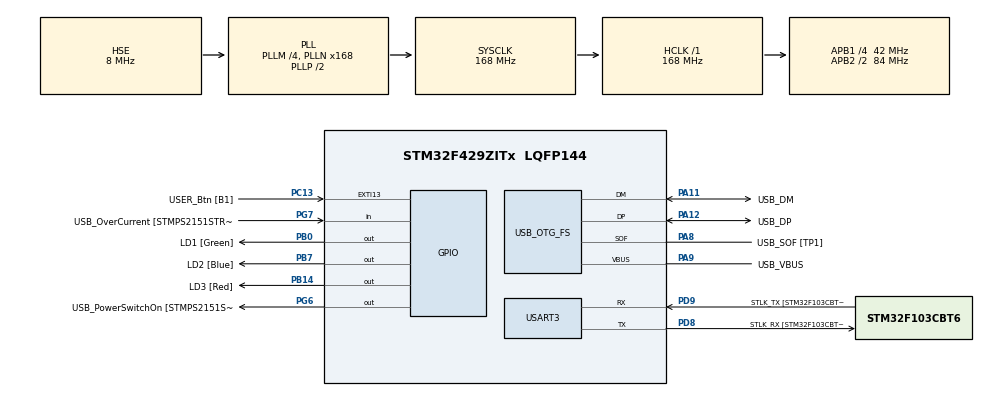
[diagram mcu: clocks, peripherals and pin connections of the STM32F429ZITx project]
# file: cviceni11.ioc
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Mcu.Family=STM32F4
Mcu.Name=STM32F429ZITx
Mcu.Package=LQFP144
NVIC.OTG_FS_IRQn=true\:0\:0\:false\:false\:true\:false\:true\:true
NVIC.PriorityGroup=NVIC_PRIORITYGROUP_4
PA1.GPIO_Label=RMII_REF_CLK [LAN8742A-CZ-TR_REFCLK0]
PA1.Signal=ETH_REF_CLK
PA10.GPIO_Label=USB_ID
PA10.Signal=USB_OTG_FS_ID
PA11.GPIO_Label=USB_DM
PA11.Mode=Device_Only
PA11.Signal=USB_OTG_FS_DM
PA12.GPIO_Label=USB_DP
PA12.Mode=Device_Only
PA12.Signal=USB_OTG_FS_DP
PA13.GPIO_Label=TMS
PA13.Mode=Serial_Wire
PA13.Signal=SYS_JTMS-SWDIO
PA14.GPIO_Label=TCK
PA14.Mode=Serial_Wire
PA14.Signal=SYS_JTCK-SWCLK
PA2.GPIO_Label=RMII_MDIO [LAN8742A-CZ-TR_MDIO]
PA2.Signal=ETH_MDIO
PA7.GPIO_Label=RMII_CRS_DV [LAN8742A-CZ-TR_CRS_DV]
PA7.Signal=ETH_CRS_DV
PA8.GPIO_Label=USB_SOF [TP1]
PA8.Mode=Activate_SOF_FS
PA8.Signal=USB_OTG_FS_SOF
PA9.GPIO_Label=USB_VBUS
PA9.Mode=Activate_VBUS
PA9.Signal=USB_OTG_FS_VBUS
PB0.GPIO_Label=LD1 [Green]
PB0.Signal=GPIO_Output
PB13.GPIO_Label=RMII_TXD1 [LAN8742A-CZ-TR_TXD1]
PB13.Signal=ETH_TXD1
PB14.GPIO_Label=LD3 [Red]
PB14.Signal=GPIO_Output
PB7.GPIO_Label=LD2 [Blue]
PB7.Signal=GPIO_Output
PC1.GPIO_Label=RMII_MDC [LAN8742A-CZ-TR_MDC]
PC1.Signal=ETH_MDC
PC13.GPIO_Label=USER_Btn [B1]
PC13.Signal=GPXTI13
PC14/OSC32_IN.Mode=LSE-External-Oscillator
PC14/OSC32_IN.Signal=RCC_OSC32_IN
PC15/OSC32_OUT.Mode=LSE-External-Oscillator
PC15/OSC32_OUT.Signal=RCC_OSC32_OUT
PC4.GPIO_Label=RMII_RXD0 [LAN8742A-CZ-TR_RXD0]
PC4.Signal=ETH_RXD0
PC5.GPIO_Label=RMII_RXD1 [LAN8742A-CZ-TR_RXD1]
PC5.Signal=ETH_RXD1
PD8.GPIO_Label=STLK_RX [STM32F103CBT6_PA3]
PD8.Mode=Asynchronous
PD8.Signal=USART3_TX
PD9.GPIO_Label=STLK_TX [STM32F103CBT6_PA2]
PD9.Mode=Asynchronous
PD9.Signal=USART3_RX
PG11.GPIO_Label=RMII_TX_EN [LAN8742A-CZ-TR_TXEN]
PG11.Signal=ETH_TX_EN
PG13.GPIO_Label=RMII_TXD0 [LAN8742A-CZ-TR_TXD0]
PG13.Signal=ETH_TXD0
PG6.GPIO_Label=USB_PowerSwitchOn [STMPS2151STR_EN]
PG6.Signal=GPIO_Output
PG7.GPIO_Label=USB_OverCurrent [STMPS2151STR_FAULT]
PG7.Signal=GPIO_Input
PH0/OSC_IN.GPIO_Label=MCO [STM32F103CBT6_PA8]
PH0/OSC_IN.Mode=HSE-External-Clock-Source
PH0/OSC_IN.Signal=RCC_OSC_IN
PH1/OSC_OUT.Mode=HSE-External-Clock-Source
PH1/OSC_OUT.Signal=RCC_OSC_OUT
ProjectManager.HeapSize=0x200
ProjectManager.StackSize=0x400
ProjectManager.TargetToolchain=STM32CubeIDE
RCC.48MHZClocksFreq_Value=48000000
RCC.AHBFreq_Value=168000000
RCC.APB1CLKDivider=RCC_HCLK_DIV4
RCC.APB1Freq_Value=42000000
RCC.APB1TimFreq_Value=84000000
RCC.APB2CLKDivider=RCC_HCLK_DIV2
RCC.APB2Freq_Value=84000000
RCC.APB2TimCLKDivider=2
RCC.APB2TimFreq_Value=168000000
RCC.CortexFreq_Value=168000000
RCC.HCLKFreq_Value=168000000
RCC.HSE_VALUE=8000000
RCC.HSI_VALUE=16000000
RCC.PLLM=4
RCC.PLLMUL=RCC_PLL_MUL9
RCC.PLLN=168
RCC.PLLQ=7
RCC.PRESCALERUSB=RCC_USBCLKSOURCE_PLL_DIV1_5
RCC.SYSCLKFreq_VALUE=168000000
RCC.SYSCLKSource=RCC_SYSCLKSOURCE_PLLCLK
RCC.SYSCLKSourceVirtual=RCC_SYSCLKSOURCE_PLLCLK
RCC.USBFreq_Value=48000000
RCC.VCOOutputFreq_Value=336000000
USART3.VirtualMode=VM_ASYNC
USB_DEVICE.CLASS_NAME_FS=HID
USB_DEVICE.VirtualMode-HID_FS=Hid
USB_DEVICE.VirtualModeFS=Hid_FS
USB_OTG_FS.VirtualMode=Device_Only
VP_USB_DEVICE_VS_USB_DEVICE_HID_FS.Mode=HID_FS
board=NUCLEO-F429ZI

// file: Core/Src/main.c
/* USER CODE BEGIN Header */
/**
  ******************************************************************************
  * @file           : main.c
  * @brief          : Main program body
  ******************************************************************************
  * @attention
  *
  * Copyright (c) 2023 STMicroelectronics.
  * All rights reserved.
  *
  * This software is licensed under terms that can be found in the LICENSE file
  * in the root directory of this software component.
  * If no LICENSE file comes with this software, it is provided AS-IS.
  *
  ******************************************************************************
  */
/* USER CODE END Header */
#include "main.h"
#include "usb_device.h"

/* USER CODE BEGIN Includes */
#include "usbd_hid.h"
#include <math.h>
/* USER CODE END Includes */

/* USER CODE BEGIN PD */
extern USBD_HandleTypeDef hUsbDeviceFS;

/* USER CODE END PD */

UART_HandleTypeDef huart3;

void SystemClock_Config(void);
static void MX_GPIO_Init(void);
static void MX_USART3_UART_Init(void);

/* USER CODE BEGIN 0 */
void step(int8_t x, int8_t y, uint8_t draw)
{
	  uint8_t buff[4];
	  buff[0] = draw ? 0x01 : 0x00; // stiskni leve tlacitko
	  buff[1] = (int8_t)(x);
	  buff[2] = (int8_t)(y);
	  buff[3] = 0; // bez scrollu
	  USBD_HID_SendReport(&hUsbDeviceFS, buff, sizeof(buff));
	  HAL_Delay(USBD_HID_GetPollingInterval(&hUsbDeviceFS));
}

void line(int8_t x, int8_t y)
{
	step(0,0,1);
	step(x,y,1);
	step(0,0,0);
}

void move(int8_t x, int8_t y)
{
	step(0,0,0);
	step(x,y,0);
}

void circle_draw(uint16_t radius, uint16_t start_deg, uint16_t stop_deg)
{

	float x = 0;
	float y = 0;

	int8_t dx = 0;
	int8_t dy = 0;

	// initial starting point
	int8_t sx = radius;
	int8_t sy = 0;
	for (uint16_t deg = 0; deg <= 360; deg+=10)  {
		x = radius*cosf(deg*M_PI/180);
		y = radius*sinf(deg*M_PI/180);

		dx = x - sx;
		dy = y - sy;

		if (deg >= start_deg && deg <= stop_deg)
			line(dx, dy);
		else
			move(dx, dy);

		sx += dx;
		sy += dy;

	}

}

void circle(uint16_t radius)
{
	circle_draw(radius, 0, 360);
}

void emoji()
{
	circle(60);
	move(-45, -15);
	circle(15);
	move(30, 0);
	circle(15);
	move(-22, 15);
	line(0, 15);
	move(20, 0);
	circle_draw(35, 20, 170);

}
/* USER CODE END 0 */

int main(void)
{

  /* MCU Configuration--------------------------------------------------------*/

  /* Reset of all peripherals, Initializes the Flash interface and the Systick. */
  HAL_Init();

  /* Configure the system clock */
  SystemClock_Config();

  /* Initialize all configured peripherals */
  MX_GPIO_Init();
  MX_USART3_UART_Init();
  MX_USB_DEVICE_Init();
  /* USER CODE BEGIN 2 */

  HAL_Delay(120);
  emoji();
  /* USER CODE END 2 */

  /* Infinite loop */
  while (1)
  {

  }
}

void SystemClock_Config(void)
{
  RCC_OscInitTypeDef RCC_OscInitStruct = {0};
  RCC_ClkInitTypeDef RCC_ClkInitStruct = {0};

  /** Configure the main internal regulator output voltage
  */
  __HAL_RCC_PWR_CLK_ENABLE();
  __HAL_PWR_VOLTAGESCALING_CONFIG(PWR_REGULATOR_VOLTAGE_SCALE1);

  /** Initializes the RCC Oscillators according to the specified parameters
  * in the RCC_OscInitTypeDef structure.
  */
  RCC_OscInitStruct.OscillatorType = RCC_OSCILLATORTYPE_HSE;
  RCC_OscInitStruct.HSEState = RCC_HSE_BYPASS;
  RCC_OscInitStruct.PLL.PLLState = RCC_PLL_ON;
  RCC_OscInitStruct.PLL.PLLSource = RCC_PLLSOURCE_HSE;
  RCC_OscInitStruct.PLL.PLLM = 4;
  RCC_OscInitStruct.PLL.PLLN = 168;
  RCC_OscInitStruct.PLL.PLLP = RCC_PLLP_DIV2;
  RCC_OscInitStruct.PLL.PLLQ = 7;
  if (HAL_RCC_OscConfig(&RCC_OscInitStruct) != HAL_OK)
  {
    Error_Handler();
  }

  /** Initializes the CPU, AHB and APB buses clocks
  */
  RCC_ClkInitStruct.ClockType = RCC_CLOCKTYPE_HCLK|RCC_CLOCKTYPE_SYSCLK
                              |RCC_CLOCKTYPE_PCLK1|RCC_CLOCKTYPE_PCLK2;
  RCC_ClkInitStruct.SYSCLKSource = RCC_SYSCLKSOURCE_PLLCLK;
  RCC_ClkInitStruct.AHBCLKDivider = RCC_SYSCLK_DIV1;
  RCC_ClkInitStruct.APB1CLKDivider = RCC_HCLK_DIV4;
  RCC_ClkInitStruct.APB2CLKDivider = RCC_HCLK_DIV2;

  if (HAL_RCC_ClockConfig(&RCC_ClkInitStruct, FLASH_LATENCY_5) != HAL_OK)
  {
    Error_Handler();
  }
}

static void MX_USART3_UART_Init(void)
{

  huart3.Instance = USART3;
  huart3.Init.BaudRate = 115200;
  huart3.Init.WordLength = UART_WORDLENGTH_8B;
  huart3.Init.StopBits = UART_STOPBITS_1;
  huart3.Init.Parity = UART_PARITY_NONE;
  huart3.Init.Mode = UART_MODE_TX_RX;
  huart3.Init.HwFlowCtl = UART_HWCONTROL_NONE;
  huart3.Init.OverSampling = UART_OVERSAMPLING_16;
  if (HAL_UART_Init(&huart3) != HAL_OK)
  {
    Error_Handler();
  }

}

static void MX_GPIO_Init(void)
{
  GPIO_InitTypeDef GPIO_InitStruct = {0};

  /* GPIO Ports Clock Enable */
  __HAL_RCC_GPIOC_CLK_ENABLE();
  __HAL_RCC_GPIOH_CLK_ENABLE();
  __HAL_RCC_GPIOA_CLK_ENABLE();
  __HAL_RCC_GPIOB_CLK_ENABLE();
  __HAL_RCC_GPIOD_CLK_ENABLE();
  __HAL_RCC_GPIOG_CLK_ENABLE();

  /*Configure GPIO pin Output Level */
  HAL_GPIO_WritePin(GPIOB, LD1_Pin|LD3_Pin|LD2_Pin, GPIO_PIN_RESET);

  /*Configure GPIO pin Output Level */
  HAL_GPIO_WritePin(USB_PowerSwitchOn_GPIO_Port, USB_PowerSwitchOn_Pin, GPIO_PIN_RESET);

  /*Configure GPIO pin : USER_Btn_Pin */
  GPIO_InitStruct.Pin = USER_Btn_Pin;
  GPIO_InitStruct.Mode = GPIO_MODE_IT_RISING;
  GPIO_InitStruct.Pull = GPIO_NOPULL;
  HAL_GPIO_Init(USER_Btn_GPIO_Port, &GPIO_InitStruct);

  /*Configure GPIO pins : RMII_MDC_Pin RMII_RXD0_Pin RMII_RXD1_Pin */
  GPIO_InitStruct.Pin = RMII_MDC_Pin|RMII_RXD0_Pin|RMII_RXD1_Pin;
  GPIO_InitStruct.Mode = GPIO_MODE_AF_PP;
  GPIO_InitStruct.Pull = GPIO_NOPULL;
  GPIO_InitStruct.Speed = GPIO_SPEED_FREQ_VERY_HIGH;
  GPIO_InitStruct.Alternate = GPIO_AF11_ETH;
  HAL_GPIO_Init(GPIOC, &GPIO_InitStruct);

  /*Configure GPIO pins : RMII_REF_CLK_Pin RMII_MDIO_Pin RMII_CRS_DV_Pin */
  GPIO_InitStruct.Pin = RMII_REF_CLK_Pin|RMII_MDIO_Pin|RMII_CRS_DV_Pin;
  GPIO_InitStruct.Mode = GPIO_MODE_AF_PP;
  GPIO_InitStruct.Pull = GPIO_NOPULL;
  GPIO_InitStruct.Speed = GPIO_SPEED_FREQ_VERY_HIGH;
  GPIO_InitStruct.Alternate = GPIO_AF11_ETH;
  HAL_GPIO_Init(GPIOA, &GPIO_InitStruct);

  /*Configure GPIO pins : LD1_Pin LD3_Pin LD2_Pin */
  GPIO_InitStruct.Pin = LD1_Pin|LD3_Pin|LD2_Pin;
  GPIO_InitStruct.Mode = GPIO_MODE_OUTPUT_PP;
  GPIO_InitStruct.Pull = GPIO_NOPULL;
  GPIO_InitStruct.Speed = GPIO_SPEED_FREQ_LOW;
  HAL_GPIO_Init(GPIOB, &GPIO_InitStruct);

  /*Configure GPIO pin : RMII_TXD1_Pin */
  GPIO_InitStruct.Pin = RMII_TXD1_Pin;
  GPIO_InitStruct.Mode = GPIO_MODE_AF_PP;
  GPIO_InitStruct.Pull = GPIO_NOPULL;
  GPIO_InitStruct.Speed = GPIO_SPEED_FREQ_VERY_HIGH;
  GPIO_InitStruct.Alternate = GPIO_AF11_ETH;
  HAL_GPIO_Init(RMII_TXD1_GPIO_Port, &GPIO_InitStruct);

  /*Configure GPIO pin : USB_PowerSwitchOn_Pin */
  GPIO_InitStruct.Pin = USB_PowerSwitchOn_Pin;
  GPIO_InitStruct.Mode = GPIO_MODE_OUTPUT_PP;
  GPIO_InitStruct.Pull = GPIO_NOPULL;
  GPIO_InitStruct.Speed = GPIO_SPEED_FREQ_LOW;
  HAL_GPIO_Init(USB_PowerSwitchOn_GPIO_Port, &GPIO_InitStruct);

  /*Configure GPIO pin : USB_OverCurrent_Pin */
  GPIO_InitStruct.Pin = USB_OverCurrent_Pin;
  GPIO_InitStruct.Mode = GPIO_MODE_INPUT;
  GPIO_InitStruct.Pull = GPIO_NOPULL;
  HAL_GPIO_Init(USB_OverCurrent_GPIO_Port, &GPIO_InitStruct);

  /*Configure GPIO pins : RMII_TX_EN_Pin RMII_TXD0_Pin */
  GPIO_InitStruct.Pin = RMII_TX_EN_Pin|RMII_TXD0_Pin;
  GPIO_InitStruct.Mode = GPIO_MODE_AF_PP;
  GPIO_InitStruct.Pull = GPIO_NOPULL;
  GPIO_InitStruct.Speed = GPIO_SPEED_FREQ_VERY_HIGH;
  GPIO_InitStruct.Alternate = GPIO_AF11_ETH;
  HAL_GPIO_Init(GPIOG, &GPIO_InitStruct);

}

void Error_Handler(void)
{
  __disable_irq();
  while (1)
  {
  }
}
